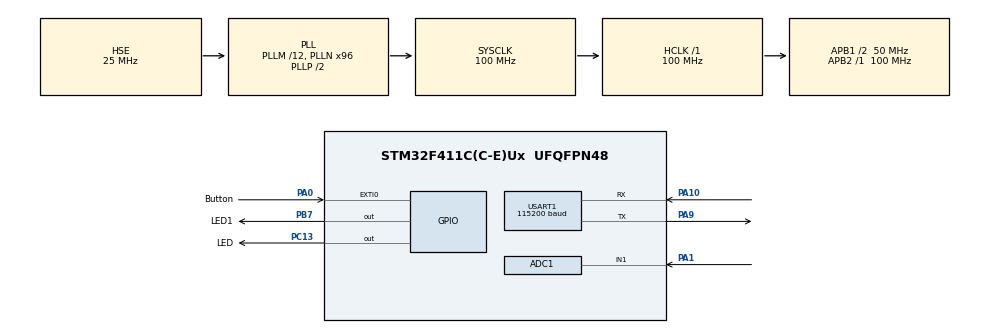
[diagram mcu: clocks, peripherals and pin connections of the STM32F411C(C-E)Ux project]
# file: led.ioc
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ADC1.Channel-2\#ChannelRegularConversion=ADC_CHANNEL_1
ADC1.ContinuousConvMode=DISABLE
ADC1.NbrOfConversionFlag=1
ADC1.Rank-2\#ChannelRegularConversion=1
ADC1.SamplingTime-2\#ChannelRegularConversion=ADC_SAMPLETIME_3CYCLES
ADC1.master=1
Mcu.Family=STM32F4
Mcu.Name=STM32F411C(C-E)Ux
Mcu.Package=UFQFPN48
NVIC.ADC_IRQn=true\:1\:0\:true\:false\:true\:true\:true\:true
NVIC.EXTI0_IRQn=true\:0\:0\:false\:false\:true\:true\:true\:true
NVIC.PriorityGroup=NVIC_PRIORITYGROUP_4
PA0-WKUP.GPIO_Label=Button
PA0-WKUP.GPIO_ModeDefaultEXTI=GPIO_MODE_IT_FALLING
PA0-WKUP.GPIO_PuPd=GPIO_PULLUP
PA0-WKUP.Signal=GPXTI0
PA1.Signal=ADCx_IN1
PA10.Mode=Asynchronous
PA10.Signal=USART1_RX
PA13.Mode=Serial_Wire
PA13.Signal=SYS_JTMS-SWDIO
PA14.Mode=Serial_Wire
PA14.Signal=SYS_JTCK-SWCLK
PA9.Mode=Asynchronous
PA9.Signal=USART1_TX
PB7.GPIO_Label=LED1
PB7.Signal=GPIO_Output
PC13-ANTI_TAMP.GPIO_Label=LED
PC13-ANTI_TAMP.PinState=GPIO_PIN_SET
PC13-ANTI_TAMP.Signal=GPIO_Output
PH0\ -\ OSC_IN.Mode=HSE-External-Oscillator
PH0\ -\ OSC_IN.Signal=RCC_OSC_IN
PH1\ -\ OSC_OUT.Mode=HSE-External-Oscillator
PH1\ -\ OSC_OUT.Signal=RCC_OSC_OUT
ProjectManager.HeapSize=0x200
ProjectManager.StackSize=0x400
ProjectManager.TargetToolchain=STM32CubeIDE
RCC.48MHZClocksFreq_Value=50000000
RCC.AHBFreq_Value=100000000
RCC.APB1CLKDivider=RCC_HCLK_DIV2
RCC.APB1Freq_Value=50000000
RCC.APB1TimFreq_Value=100000000
RCC.APB2Freq_Value=100000000
RCC.APB2TimFreq_Value=100000000
RCC.CortexFreq_Value=100000000
RCC.HCLKFreq_Value=100000000
RCC.HSE_VALUE=25000000
RCC.HSI_VALUE=16000000
RCC.LSE_VALUE=32768
RCC.PLLM=12
RCC.PLLN=96
RCC.PLLSourceVirtual=RCC_PLLSOURCE_HSE
RCC.SYSCLKFreq_VALUE=100000000
RCC.SYSCLKSource=RCC_SYSCLKSOURCE_PLLCLK
RCC.VCOOutputFreq_Value=200000000
SH.ADCx_IN1.0=ADC1_IN1,IN1
USART1.BaudRate=115200
USART1.VirtualMode=VM_ASYNC
board=custom

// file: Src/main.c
/* USER CODE BEGIN Header */
/**
  ******************************************************************************
  * @file           : main.c
  * @brief          : Main program body
  ******************************************************************************
  * @attention
  *
  * Copyright (c) 2025 STMicroelectronics.
  * All rights reserved.
  *
  * This software is licensed under terms that can be found in the LICENSE file
  * in the root directory of this software component.
  * If no LICENSE file comes with this software, it is provided AS-IS.
  *
  ******************************************************************************
  */
/* USER CODE END Header */
#include "main.h"

/* USER CODE BEGIN Includes */
#include "led.h"
#include <stdio.h>
#include <string.h>
/* USER CODE END Includes */

ADC_HandleTypeDef hadc1;

UART_HandleTypeDef huart1;

void SystemClock_Config(void);
static void MX_GPIO_Init(void);
static void MX_ADC1_Init(void);
static void MX_USART1_UART_Init(void);

/* USER CODE BEGIN 0 */
uint32_t adc_value = 0;
int delay_time = 0;
int _write(int file, char* p, int len){
	HAL_UART_Transmit(&huart1, (uint8_t*)p, len, 100);
	return len;
}

/* USER CODE END 0 */

int main(void)
{

  /* MCU Configuration--------------------------------------------------------*/

  /* Reset of all peripherals, Initializes the Flash interface and the Systick. */
  HAL_Init();

  /* Configure the system clock */
  SystemClock_Config();

  /* Initialize all configured peripherals */
  MX_GPIO_Init();
  MX_ADC1_Init();
  MX_USART1_UART_Init();
  /* USER CODE BEGIN 2 */
  HAL_ADC_Start_IT(&hadc1);

  /* USER CODE END 2 */

  /* Infinite loop */
  while (1)
  {

    /* USER CODE BEGIN 3 */
	  HAL_GPIO_WritePin(LED_GPIO_Port, LED_Pin, GPIO_PIN_RESET);
  }
  /* USER CODE END 3 */
}

void SystemClock_Config(void)
{
  RCC_OscInitTypeDef RCC_OscInitStruct = {0};
  RCC_ClkInitTypeDef RCC_ClkInitStruct = {0};

  /** Configure the main internal regulator output voltage
  */
  __HAL_RCC_PWR_CLK_ENABLE();
  __HAL_PWR_VOLTAGESCALING_CONFIG(PWR_REGULATOR_VOLTAGE_SCALE1);

  /** Initializes the RCC Oscillators according to the specified parameters
  * in the RCC_OscInitTypeDef structure.
  */
  RCC_OscInitStruct.OscillatorType = RCC_OSCILLATORTYPE_HSE;
  RCC_OscInitStruct.HSEState = RCC_HSE_ON;
  RCC_OscInitStruct.PLL.PLLState = RCC_PLL_ON;
  RCC_OscInitStruct.PLL.PLLSource = RCC_PLLSOURCE_HSE;
  RCC_OscInitStruct.PLL.PLLM = 12;
  RCC_OscInitStruct.PLL.PLLN = 96;
  RCC_OscInitStruct.PLL.PLLP = RCC_PLLP_DIV2;
  RCC_OscInitStruct.PLL.PLLQ = 4;
  if (HAL_RCC_OscConfig(&RCC_OscInitStruct) != HAL_OK)
  {
    Error_Handler();
  }

  /** Initializes the CPU, AHB and APB buses clocks
  */
  RCC_ClkInitStruct.ClockType = RCC_CLOCKTYPE_HCLK|RCC_CLOCKTYPE_SYSCLK
                              |RCC_CLOCKTYPE_PCLK1|RCC_CLOCKTYPE_PCLK2;
  RCC_ClkInitStruct.SYSCLKSource = RCC_SYSCLKSOURCE_PLLCLK;
  RCC_ClkInitStruct.AHBCLKDivider = RCC_SYSCLK_DIV1;
  RCC_ClkInitStruct.APB1CLKDivider = RCC_HCLK_DIV2;
  RCC_ClkInitStruct.APB2CLKDivider = RCC_HCLK_DIV1;

  if (HAL_RCC_ClockConfig(&RCC_ClkInitStruct, FLASH_LATENCY_3) != HAL_OK)
  {
    Error_Handler();
  }
}

static void MX_ADC1_Init(void)
{

  ADC_ChannelConfTypeDef sConfig = {0};

  /** Configure the global features of the ADC (Clock, Resolution, Data Alignment and number of conversion)
  */
  hadc1.Instance = ADC1;
  hadc1.Init.ClockPrescaler = ADC_CLOCK_SYNC_PCLK_DIV4;
  hadc1.Init.Resolution = ADC_RESOLUTION_12B;
  hadc1.Init.ScanConvMode = DISABLE;
  hadc1.Init.ContinuousConvMode = DISABLE;
  hadc1.Init.DiscontinuousConvMode = DISABLE;
  hadc1.Init.ExternalTrigConvEdge = ADC_EXTERNALTRIGCONVEDGE_NONE;
  hadc1.Init.ExternalTrigConv = ADC_SOFTWARE_START;
  hadc1.Init.DataAlign = ADC_DATAALIGN_RIGHT;
  hadc1.Init.NbrOfConversion = 1;
  hadc1.Init.DMAContinuousRequests = DISABLE;
  hadc1.Init.EOCSelection = ADC_EOC_SINGLE_CONV;
  if (HAL_ADC_Init(&hadc1) != HAL_OK)
  {
    Error_Handler();
  }

  /** Configure for the selected ADC regular channel its corresponding rank in the sequencer and its sample time.
  */
  sConfig.Channel = ADC_CHANNEL_1;
  sConfig.Rank = 1;
  sConfig.SamplingTime = ADC_SAMPLETIME_3CYCLES;
  if (HAL_ADC_ConfigChannel(&hadc1, &sConfig) != HAL_OK)
  {
    Error_Handler();
  }

}

static void MX_USART1_UART_Init(void)
{

  huart1.Instance = USART1;
  huart1.Init.BaudRate = 115200;
  huart1.Init.WordLength = UART_WORDLENGTH_8B;
  huart1.Init.StopBits = UART_STOPBITS_1;
  huart1.Init.Parity = UART_PARITY_NONE;
  huart1.Init.Mode = UART_MODE_TX_RX;
  huart1.Init.HwFlowCtl = UART_HWCONTROL_NONE;
  huart1.Init.OverSampling = UART_OVERSAMPLING_16;
  if (HAL_UART_Init(&huart1) != HAL_OK)
  {
    Error_Handler();
  }

}

static void MX_GPIO_Init(void)
{
  GPIO_InitTypeDef GPIO_InitStruct = {0};

  /* GPIO Ports Clock Enable */
  __HAL_RCC_GPIOC_CLK_ENABLE();
  __HAL_RCC_GPIOH_CLK_ENABLE();
  __HAL_RCC_GPIOA_CLK_ENABLE();
  __HAL_RCC_GPIOB_CLK_ENABLE();

  /*Configure GPIO pin Output Level */
  HAL_GPIO_WritePin(LED_GPIO_Port, LED_Pin, GPIO_PIN_SET);

  /*Configure GPIO pin Output Level */
  HAL_GPIO_WritePin(LED1_GPIO_Port, LED1_Pin, GPIO_PIN_RESET);

  /*Configure GPIO pin : LED_Pin */
  GPIO_InitStruct.Pin = LED_Pin;
  GPIO_InitStruct.Mode = GPIO_MODE_OUTPUT_PP;
  GPIO_InitStruct.Pull = GPIO_NOPULL;
  GPIO_InitStruct.Speed = GPIO_SPEED_FREQ_LOW;
  HAL_GPIO_Init(LED_GPIO_Port, &GPIO_InitStruct);

  /*Configure GPIO pin : Button_Pin */
  GPIO_InitStruct.Pin = Button_Pin;
  GPIO_InitStruct.Mode = GPIO_MODE_IT_FALLING;
  GPIO_InitStruct.Pull = GPIO_PULLUP;
  HAL_GPIO_Init(Button_GPIO_Port, &GPIO_InitStruct);

  /*Configure GPIO pin : LED1_Pin */
  GPIO_InitStruct.Pin = LED1_Pin;
  GPIO_InitStruct.Mode = GPIO_MODE_OUTPUT_PP;
  GPIO_InitStruct.Pull = GPIO_NOPULL;
  GPIO_InitStruct.Speed = GPIO_SPEED_FREQ_LOW;
  HAL_GPIO_Init(LED1_GPIO_Port, &GPIO_InitStruct);

  /* EXTI interrupt init*/
  HAL_NVIC_SetPriority(EXTI0_IRQn, 0, 0);
  HAL_NVIC_EnableIRQ(EXTI0_IRQn);

}

/* USER CODE BEGIN 4 */
void HAL_GPIO_EXTI_Callback(uint16_t GPIO_Pin)
{
    if (GPIO_Pin == GPIO_PIN_0)
    {

     if (HAL_GPIO_ReadPin(Button_GPIO_Port, Button_Pin)==0 )
     {
    	 HAL_GPIO_TogglePin(LED_GPIO_Port, LED_Pin);
     }

    }
}

void HAL_ADC_ConvCpltCallback(ADC_HandleTypeDef *hadc)
{
    if (hadc->Instance == ADC1)
    {
    	adc_value = HAL_ADC_GetValue(hadc);
        char msg[30];
        sprintf(msg, "ADC: %lu\r\n", adc_value);
        HAL_UART_Transmit(&huart1, (uint8_t*)msg, strlen(msg), 100);
        for(delay_time=0;delay_time < 5000; delay_time++);
        HAL_ADC_Start_IT(&hadc1);
    }
}

/* USER CODE END 4 */

void Error_Handler(void)
{
  __disable_irq();
  while (1)
  {
  }
}
